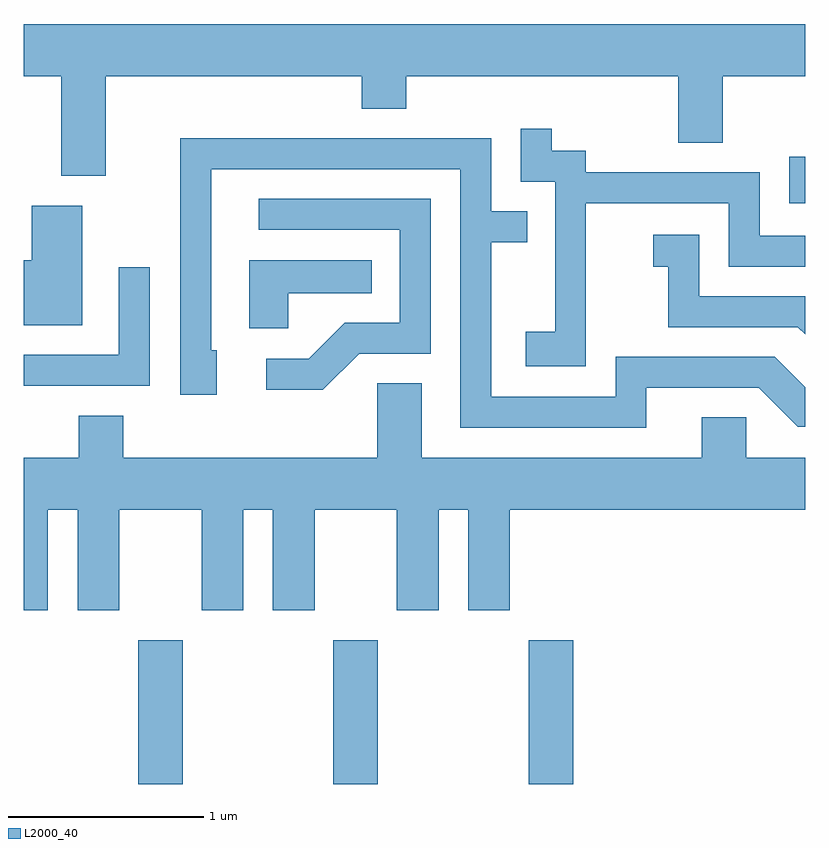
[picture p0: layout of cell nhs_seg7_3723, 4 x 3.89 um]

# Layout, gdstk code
import gdstk
lib = gdstk.Library(unit=1e-6, precision=1e-09)
def R(c, l, rs):  # rectangles x0, y0, x1, y1
    for r in rs: c.add(gdstk.rectangle(r[:2], r[2:], *l))
def A(c, l, x, y, w, h, nx, ny, dx, dy):  # array of equal rectangles
    R(c, l, [(x+i*dx, y+j*dy, x+i*dx+w, y+j*dy+h) for i in range(nx) for j in range(ny)])
def P(c, l, *ps):  # polygons
    for p in ps: c.add(gdstk.Polygon(p, *l))
L2000_40 = (2000, 40)

nhs_seg7_3723 = lib.new_cell('nhs_seg7_3723')
A(nhs_seg7_3723, L2000_40, 300.196, 1706.252, 0.228, 0.737, 3, 1, 1, 0)
R(nhs_seg7_3723, L2000_40, [(303.531,1709.226,303.611,1709.463)])
P(nhs_seg7_3723, L2000_40, [(300.029,1709.876),(301.341,1709.876),(301.341,1709.711),(301.569,1709.711),(301.569,1709.876),(302.961,1709.876),(302.961,1709.536),(303.189,1709.536),(303.189,1709.876),(303.611,1709.876),(303.611,1710.144),(299.611,1710.144),(299.611,1709.876),(299.801,1709.876),(299.801,1709.366),(300.029,1709.366)],
  [(302.489,1709.226),(303.221,1709.226),(303.221,1708.901),(303.611,1708.901),(303.611,1709.059),(303.379,1709.059),(303.379,1709.384),(302.489,1709.384),(302.489,1709.494),(302.314,1709.494),(302.314,1709.608),(302.156,1709.608),(302.156,1709.336),(302.331,1709.336),(302.331,1708.569),(302.181,1708.569),(302.181,1708.391),(302.489,1708.391)],
  [(302.799,1708.281),(303.374,1708.281),(303.574,1708.081),(303.611,1708.081),(303.611,1708.285),(303.457,1708.439),(302.641,1708.439),(302.641,1708.234),(302.004,1708.234),(302.004,1709.026),(302.188,1709.026),(302.188,1709.184),(302.004,1709.184),(302.004,1709.559),(300.411,1709.559),(300.411,1708.246),(300.599,1708.246),(300.599,1708.474),(300.569,1708.474),(300.569,1709.401),(301.846,1709.401),(301.846,1708.076),(302.799,1708.076)],
  [(301.327,1708.456),(301.694,1708.456),(301.694,1709.249),(300.813,1709.249),(300.813,1709.091),(301.536,1709.091),(301.536,1708.614),(301.254,1708.614),(301.069,1708.429),(300.853,1708.429),(300.853,1708.271),(301.142,1708.271)],
  [(299.909,1709.214),(299.651,1709.214),(299.651,1708.934),(299.611,1708.934),(299.611,1708.601),(299.909,1708.601)],
  [(303.611,1708.749),(303.069,1708.749),(303.069,1709.064),(302.833,1709.064),(302.833,1708.901),(302.911,1708.901),(302.911,1708.591),(303.574,1708.591),(303.611,1708.554)],
  [(300.964,1708.766),(301.393,1708.766),(301.393,1708.934),(300.766,1708.934),(300.766,1708.586),(300.964,1708.586)],
  [(300.254,1708.898),(300.096,1708.898),(300.096,1708.449),(299.611,1708.449),(299.611,1708.291),(300.254,1708.291)],
  [(299.734,1707.656),(299.886,1707.656),(299.886,1707.141),(300.099,1707.141),(300.099,1707.656),(300.521,1707.656),(300.521,1707.141),(300.734,1707.141),(300.734,1707.656),(300.886,1707.656),(300.886,1707.141),(301.099,1707.141),(301.099,1707.656),(301.521,1707.656),(301.521,1707.141),(301.734,1707.141),(301.734,1707.656),(301.886,1707.656),(301.886,1707.141),(302.099,1707.141),(302.099,1707.656),(303.611,1707.656),(303.611,1707.924),(303.309,1707.924),(303.309,1708.129),(303.081,1708.129),(303.081,1707.924),(301.649,1707.924),(301.649,1708.304),(301.421,1708.304),(301.421,1707.924),(300.119,1707.924),(300.119,1708.139),(299.891,1708.139),(299.891,1707.924),(299.611,1707.924),(299.611,1707.141),(299.734,1707.141)])

lib.write_gds('nhs_seg7_3723.gds')
